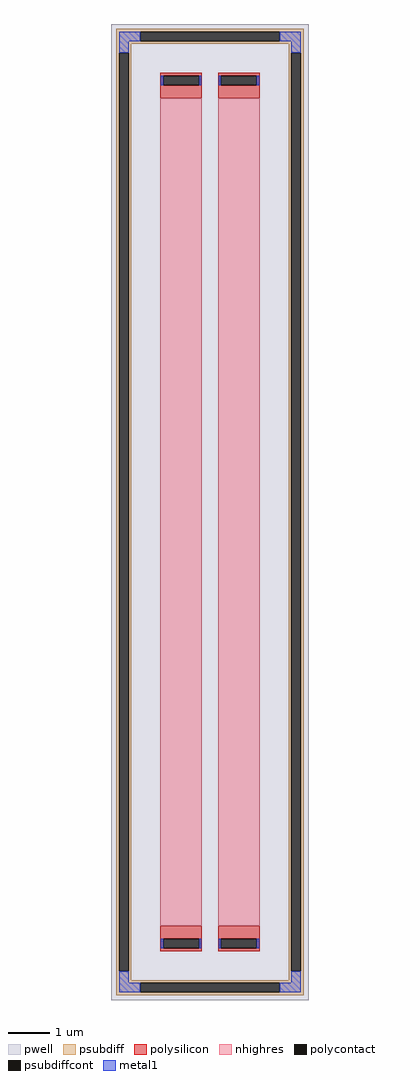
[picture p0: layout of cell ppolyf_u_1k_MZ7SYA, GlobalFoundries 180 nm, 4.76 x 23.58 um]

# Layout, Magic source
magic
tech gf180mcuD
magscale 1 10
<< pwell >>
rect -476 -2358 476 2358
<< psubdiff >>
rect -452 2321 452 2334
rect -452 2275 -336 2321
rect 336 2275 452 2321
rect -452 2262 452 2275
rect -452 2218 -380 2262
rect -452 -2218 -439 2218
rect -393 -2218 -380 2218
rect 380 2218 452 2262
rect -452 -2262 -380 -2218
rect 380 -2218 393 2218
rect 439 -2218 452 2218
rect 380 -2262 452 -2218
rect -452 -2275 452 -2262
rect -452 -2321 -336 -2275
rect 336 -2321 452 -2275
rect -452 -2334 452 -2321
<< psubdiffcont >>
rect -336 2275 336 2321
rect -439 -2218 -393 2218
rect 393 -2218 439 2218
rect -336 -2321 336 -2275
<< polysilicon >>
rect -240 2109 -40 2122
rect -240 2063 -227 2109
rect -53 2063 -40 2109
rect -240 2000 -40 2063
rect -240 -2063 -40 -2000
rect -240 -2109 -227 -2063
rect -53 -2109 -40 -2063
rect -240 -2122 -40 -2109
rect 40 2109 240 2122
rect 40 2063 53 2109
rect 227 2063 240 2109
rect 40 2000 240 2063
rect 40 -2063 240 -2000
rect 40 -2109 53 -2063
rect 227 -2109 240 -2063
rect 40 -2122 240 -2109
<< polycontact >>
rect -227 2063 -53 2109
rect -227 -2109 -53 -2063
rect 53 2063 227 2109
rect 53 -2109 227 -2063
<< nhighres >>
rect -240 -2000 -40 2000
rect 40 -2000 240 2000
<< metal1 >>
rect -439 2275 -336 2321
rect 336 2275 439 2321
rect -439 2218 -393 2275
rect 393 2218 439 2275
rect -238 2063 -227 2109
rect -53 2063 -42 2109
rect 42 2063 53 2109
rect 227 2063 238 2109
rect -238 -2109 -227 -2063
rect -53 -2109 -42 -2063
rect 42 -2109 53 -2063
rect 227 -2109 238 -2063
rect -439 -2275 -393 -2218
rect 393 -2275 439 -2218
rect -439 -2321 -336 -2275
rect 336 -2321 439 -2275
<< properties >>
string FIXED_BBOX -416 -2298 416 2298
string gencell ppolyf_u_1k
string library gf180mcu
string parameters w 1.000 l 20.000 m 1 nx 2 wmin 1.000 lmin 1.000 class resistor rho 1000 val 20.0k dummy 0 dw 0.0 term 0.0 sterm 0.0 caplen 0.4 snake 0 glc 1 grc 1 gtc 1 gbc 1 roverlap 0 endcov 100 full_metal 1 compatible {ppolyf_u_1k ppolyf_u_1k_6p0}
string ppolyf_u_1k_MZ7SYA parameters
<< end >>
